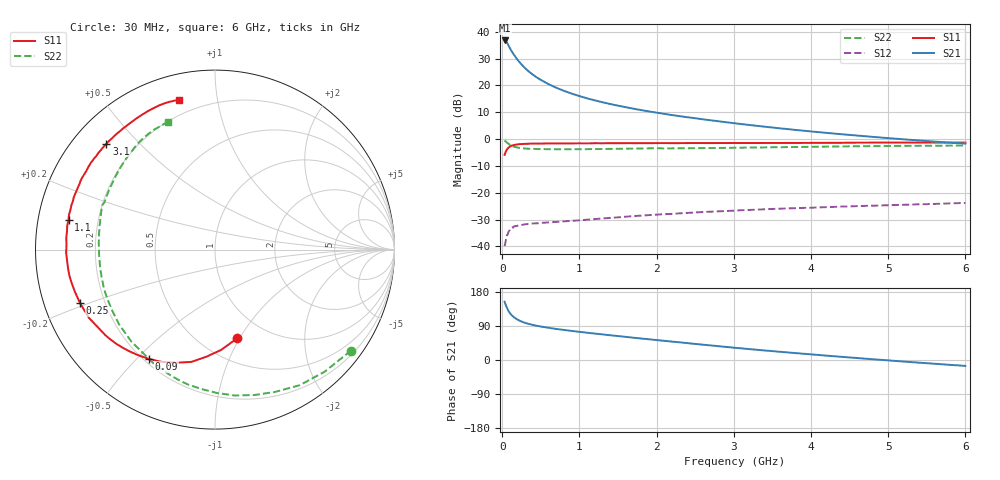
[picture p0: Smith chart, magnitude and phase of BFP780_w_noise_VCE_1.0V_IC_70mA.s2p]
! Infineon Technologies  Discrete & RF Semiconductors
! BFP780
! VCE =  1.0 V,  IC =  70 mA
! Common Emitter S-Parameters:  Jul 2015
# GHz  S  MA  R  50
!  f  S11  S21  S12  S22
! GHz  MAG  ANG  MAG  ANG  MAG  ANG  MAG  ANG
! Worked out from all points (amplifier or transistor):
!   75 points, 30 MHz to 6 GHz, reference 50 ohm
!   highest |S21| = 36.8 dB at 30 MHz (marker M1)
!   |S21| within 3 dB of that: start of sweep to 100.7 MHz
!   unconditionally stable (mu >= 1): 1.826 GHz to end of sweep
!   at 150 MHz: K = 0.14, MSG = 32.0 dB, |S12| = -32.5 dB
!   at 2.3 GHz: K = 1.12, MAG = 16.0 dB, |S12| = -27.7 dB
!   at 6 GHz: K = 1.53, MAG = 6.7 dB, |S12| = -23.8 dB
!   lowest NFmin = 1.66 dB at 450 MHz
!   S11 on the Smith chart (normalised r, x): 30 MHz: 0.73, -0.98; 90 MHz: 0.22, -0.54; 250 MHz: 0.11, -0.19; 1.1 GHz: 0.09, +0.10; 3.1 GHz: 0.10, +0.40; 6 GHz: 0.12, +0.78
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0.03  0.51 -76.1  68.84 153.8  0.0101 70.1  0.9438 -36.6
0.04  0.5599 -86.5  67.78 147.9  0.0117 60.6  0.9145 -48.0
0.05  0.5982 -94.5  65.98 142.5  0.014 56.1  0.8909 -58.0
0.06  0.6394 -101.9  63.02 138.0  0.0161 51.4  0.8608 -67.1
0.07  0.666 -108.9  59.38 133.6  0.0168 50.9  0.8395 -74.8
0.09  0.7115 -121.2  52.11 126.2  0.0196 42.3  0.7987 -89.3
0.11  0.7405 -130.0  46.17 120.7  0.0214 38.7  0.7669 -101.2
0.12  0.7513 -133.5  43.72 118.5  0.0219 35.6  0.7532 -105.9
0.15  0.7748 -141.9  37.47 113.0  0.0236 30.5  0.7219 -118.0
0.2  0.7988 -151.6  29.68 106.2  0.0243 25.0  0.6926 -132.3
0.25  0.8088 -158.3  24.48 101.4  0.0251 23.3  0.6777 -142.0
0.3  0.8153 -163.3  20.64 97.7  0.0259 20.9  0.666 -149.2
0.35  0.8203 -167.1  17.85 94.8  0.0262 19.8  0.6601 -154.7
0.5  0.8259 -174.9  12.64 88.3  0.0274 19.2  0.6503 -165.6
0.7  0.8282 178.2  9.039 81.9  0.0286 19.2  0.6459 -174.6
1.1  0.8324 168.6  5.734 72.0  0.0315 21.3  0.6491 174.3
1.5  0.8365 161.2  4.189 63.2  0.0348 22.4  0.6584 166.5
2.1  0.8413 151.1  2.946 50.6  0.0398 21.9  0.6697 157.0
3.1  0.8449 135.7  1.903 30.7  0.0473 18.5  0.6917 141.8
4.1  0.8505 122.1  1.346 13.2  0.0534 13.7  0.72 129.5
5.1  0.8617 111.3  1.016 -2.6  0.0591 8.8  0.7449 119.2
6  0.8589 103.4  0.822 -15.6  0.0645 3.8  0.7586 110.1
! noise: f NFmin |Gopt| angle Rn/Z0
0.45  1.66  0.46  179  0.07
0.9  1.71  0.49  -169  0.08
1.5  1.77  0.51  -160  0.09
1.8  1.94  0.52  -154  0.1
2.4  2.06  0.53  -146  0.15
3  2.34  0.54  -137  0.21
3.5  2.82  0.58  -123  0.32
